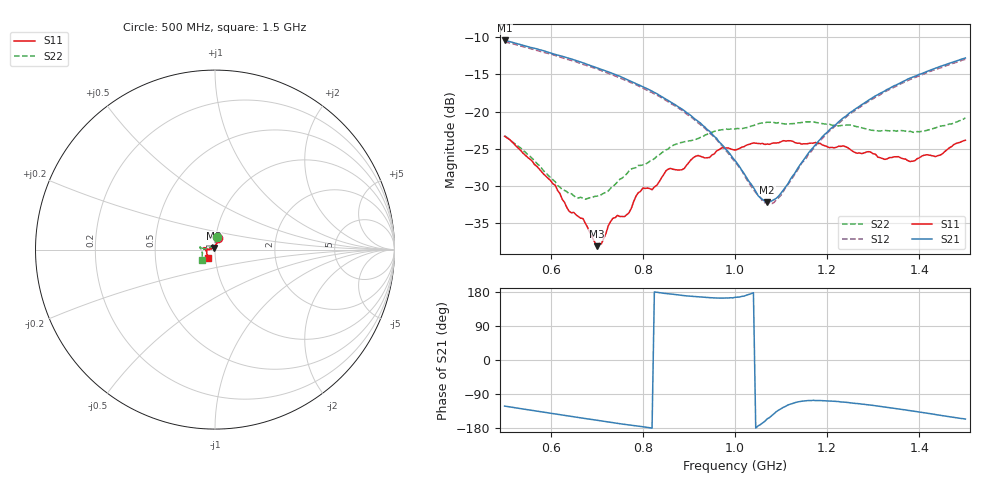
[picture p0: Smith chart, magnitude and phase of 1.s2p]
#  HZ  S  DB  R  50.00
! Rohde & Schwarz Vector Network Analyzer
! Rohde-Schwarz,ZNC3-2Port,1311600412101323,1.94
! Created: UTC 6/24/2025, 10:50:46 PM
!The following Port Impedance Renormalization has been used when saving the data.
!PortZ  Port1:50+j0  Port2:50+j0
! freq[Hz]  db:S11  ang:S11  db:S21  ang:S21  db:S12  ang:S12  db:S22  ang:S22
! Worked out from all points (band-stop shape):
!   201 points, 500 MHz to 1.5 GHz, reference 50 ohm
!   highest |S21| = -10.44 dB at 500 MHz (marker M1); lowest = -32.2 dB at 1.07 GHz (marker M2)
!   |S21| within 3 dB of the highest: start of sweep to 669.9 MHz; 1.469 GHz to end of sweep
!   lowest |S11| = -38.1 dB at 700 MHz (marker M3), VSWR 1.03, Z = 49.2 + j0.953 ohm
!   |S11| at or under -10 dB: start of sweep to end of sweep
!   |S22| runs from -31.8 to -20.9 dB; largest |S21 - S12| = 0.0092
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5e8  -23.32 74.0  -10.44 -121.6  -10.61 -122.6  -23.26 81.5
6.1e8  -29.91 78.1  -12.32 -142.2  -12.47 -143.3  -29.45 96.2
6.25e8  -31.78 82.3  -12.57 -145.1  -12.77 -145.8  -30.50 101.0
6.4e8  -33.40 83.8  -12.84 -147.9  -13.04 -148.6  -31.05 106.9
6.7e8  -34.38 100.5  -13.44 -153.6  -13.65 -154.0  -31.66 126.9
7e8  -38.11 128.9  -14.10 -158.9  -14.26 -159.5  -31.37 147.0
7.1e8  -37.81 129.5  -14.33 -160.8  -14.50 -161.2  -31.17 150.9
7.35e8  -34.35 155.4  -14.89 -165.4  -15.09 -165.4  -30.06 158.3
7.6e8  -34.14 170.7  -15.54 -169.8  -15.72 -170.0  -28.70 164.2
8e8  -30.29 178.0  -16.66 -176.3  -16.86 -177.1  -27.17 172.9
8.35e8  -29.49 175.8  -17.78 177.9  -17.93 177.1  -25.88 173.4
8.55e8  -27.76 -179.8  -18.51 174.8  -18.68 174.1  -25.03 173.8
8.85e8  -27.83 179.4  -19.66 170.6  -19.83 169.8  -24.15 176.5
9.15e8  -25.99 178.8  -21.09 167.0  -21.23 166.3  -23.75 175.1
1e9  -25.17 176.1  -26.57 165.4  -26.75 164.0  -22.34 174.2
1.07e9  -24.36 173.1  -32.17 -155.2  -32.23 -155.6  -21.43 172.0
1.1e9  -24.05 171.1  -30.96 -128.7  -31.24 -127.4  -21.58 172.2
1.17e9  -24.25 169.7  -24.81 -106.4  -24.96 -107.6  -21.39 171.9
1.25e9  -25.10 174.4  -20.12 -113.1  -20.30 -113.1  -21.81 173.8
1.335e9  -26.19 -176.8  -16.89 -125.5  -17.03 -126.3  -22.61 -176.4
1.435e9  -26.05 -145.9  -14.16 -143.9  -14.36 -144.2  -22.20 -156.9
1.5e9  -23.86 -130.6  -12.79 -155.9  -12.98 -155.9  -20.86 -142.4
